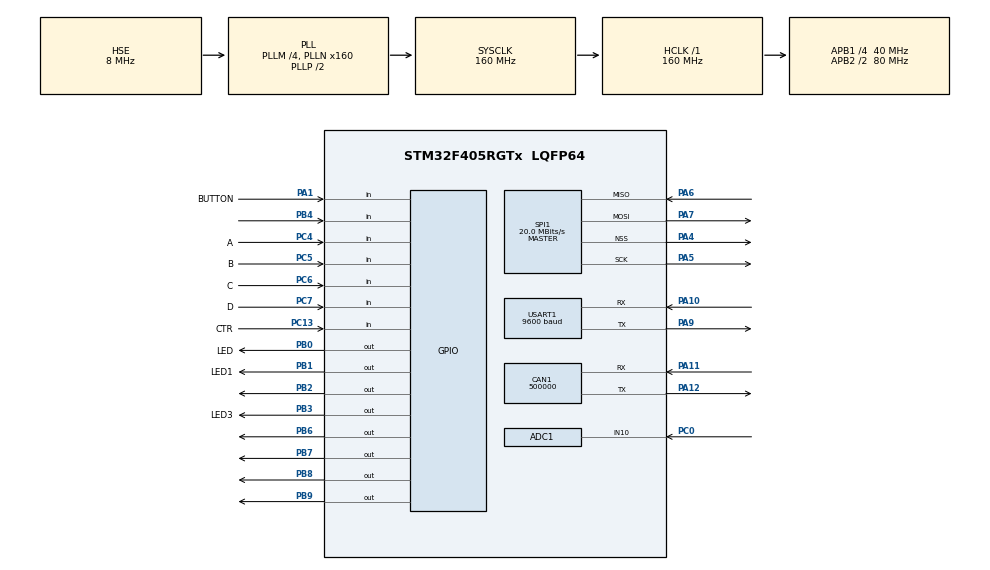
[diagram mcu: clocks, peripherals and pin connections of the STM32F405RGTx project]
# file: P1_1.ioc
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ADC1.Channel-0\#ChannelRegularConversion=ADC_CHANNEL_10
ADC1.NbrOfConversionFlag=1
ADC1.Rank-0\#ChannelRegularConversion=1
ADC1.SamplingTime-0\#ChannelRegularConversion=ADC_SAMPLETIME_3CYCLES
ADC1.master=1
CAN1.BS1=CAN_BS1_2TQ
CAN1.BS2=CAN_BS2_2TQ
CAN1.CalculateBaudRate=500000
CAN1.CalculateTimeBit=2000
CAN1.CalculateTimeQuantum=400.0
Mcu.Family=STM32F4
Mcu.Name=STM32F405RGTx
Mcu.Package=LQFP64
NVIC.CAN1_RX0_IRQn=true\:0\:0\:false\:false\:true\:true\:true\:true
NVIC.PriorityGroup=NVIC_PRIORITYGROUP_4
NVIC.SPI1_IRQn=true\:0\:0\:false\:false\:true\:true\:true\:true
NVIC.TIM2_IRQn=true\:0\:0\:false\:false\:true\:true\:true\:true
NVIC.USART1_IRQn=true\:0\:0\:false\:false\:true\:true\:true\:true
PA1.GPIO_Label=BUTTON
PA1.Signal=GPIO_Input
PA10.Mode=Asynchronous
PA10.Signal=USART1_RX
PA11.GPIO_PuPd=GPIO_PULLUP
PA11.Mode=CAN_Activate
PA11.Signal=CAN1_RX
PA12.GPIO_PuPd=GPIO_PULLUP
PA12.Mode=CAN_Activate
PA12.Signal=CAN1_TX
PA4.Mode=NSS_Signal_Hard_Output
PA4.Signal=SPI1_NSS
PA5.GPIO_PuPd=GPIO_PULLUP
PA5.Mode=Full_Duplex_Master
PA5.Signal=SPI1_SCK
PA6.GPIO_PuPd=GPIO_PULLUP
PA6.Mode=Full_Duplex_Master
PA6.Signal=SPI1_MISO
PA7.GPIO_PuPd=GPIO_PULLUP
PA7.Mode=Full_Duplex_Master
PA7.Signal=SPI1_MOSI
PA9.Mode=Asynchronous
PA9.Signal=USART1_TX
PB0.GPIO_Label=LED
PB0.Signal=GPIO_Output
PB1.GPIO_Label=LED1
PB1.Signal=GPIO_Output
PB2.Signal=GPIO_Output
PB3.GPIO_Label=LED3
PB3.Signal=GPIO_Output
PB4.GPIO_PuPd=GPIO_PULLUP
PB4.Signal=GPIO_Input
PB6.Signal=GPIO_Output
PB7.Signal=GPIO_Output
PB8.Signal=GPIO_Output
PB9.Signal=GPIO_Output
PC0.Signal=ADCx_IN10
PC13-ANTI_TAMP.GPIO_Label=CTR
PC13-ANTI_TAMP.Signal=GPIO_Input
PC4.GPIO_Label=A
PC4.Signal=GPIO_Input
PC5.GPIO_Label=B
PC5.Signal=GPIO_Input
PC6.GPIO_Label=C
PC6.Signal=GPIO_Input
PC7.GPIO_Label=D
PC7.Signal=GPIO_Input
PH0-OSC_IN.Mode=HSE-External-Oscillator
PH0-OSC_IN.Signal=RCC_OSC_IN
PH1-OSC_OUT.Mode=HSE-External-Oscillator
PH1-OSC_OUT.Signal=RCC_OSC_OUT
ProjectManager.HeapSize=0x200
ProjectManager.StackSize=0x400
ProjectManager.TargetToolchain=STM32CubeIDE
RCC.48MHZClocksFreq_Value=80000000
RCC.AHBFreq_Value=160000000
RCC.APB1CLKDivider=RCC_HCLK_DIV4
RCC.APB1Freq_Value=40000000
RCC.APB1TimFreq_Value=80000000
RCC.APB2CLKDivider=RCC_HCLK_DIV2
RCC.APB2Freq_Value=80000000
RCC.APB2TimFreq_Value=160000000
RCC.CortexFreq_Value=160000000
RCC.HCLKFreq_Value=160000000
RCC.HSE_VALUE=8000000
RCC.HSI_VALUE=16000000
RCC.LSE_VALUE=32768
RCC.PLLM=4
RCC.PLLN=160
RCC.PLLSourceVirtual=RCC_PLLSOURCE_HSE
RCC.SYSCLKFreq_VALUE=160000000
RCC.SYSCLKSource=RCC_SYSCLKSOURCE_PLLCLK
RCC.VCOOutputFreq_Value=320000000
SH.ADCx_IN10.0=ADC1_IN10,IN10
SPI1.BaudRatePrescaler=SPI_BAUDRATEPRESCALER_4
SPI1.CLKPolarity=SPI_POLARITY_HIGH
SPI1.CalculateBaudRate=20.0 MBits/s
SPI1.Direction=SPI_DIRECTION_2LINES
SPI1.Mode=SPI_MODE_MASTER
SPI1.VirtualNSS=VM_NSSHARD
SPI1.VirtualType=VM_MASTER
TIM2.Period=9999
TIM2.Prescaler=99
USART1.BaudRate=9600
USART1.VirtualMode=VM_ASYNC
VP_TIM2_VS_ClockSourceINT.Mode=Internal
board=custom

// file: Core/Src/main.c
/* USER CODE BEGIN Header */
/**
  ******************************************************************************
  * @file           : main.c
  * @brief          : Main program body
  ******************************************************************************
  * @attention
  *
  * Copyright (c) 2023 STMicroelectronics.
  * All rights reserved.
  *
  * This software is licensed under terms that can be found in the LICENSE file
  * in the root directory of this software component.
  * If no LICENSE file comes with this software, it is provided AS-IS.
  *
  ******************************************************************************
  */
/* USER CODE END Header */
#include "main.h"

/* USER CODE BEGIN Includes */
#include "global.h"
#include "software_timer.h"
#include "input_processing.h"
#include "input_reading.h"
#include "stdio.h"
#include "LCD_driver.h"
#include "st7789.h"
/* USER CODE END Includes */

ADC_HandleTypeDef hadc1;

CAN_HandleTypeDef hcan1;

TIM_HandleTypeDef htim2;

UART_HandleTypeDef huart1;

void SystemClock_Config(void);
static void MX_GPIO_Init(void);
static void MX_CAN1_Init(void);
static void MX_TIM2_Init(void);
static void MX_USART1_UART_Init(void);
static void MX_SPI1_Init(void);
static void MX_ADC1_Init(void);

/* USER CODE BEGIN 0 */
CAN_TxHeaderTypeDef TxHeader1;
CAN_RxHeaderTypeDef RxHeader1;

uint8_t TxData1[8];
uint8_t RxData1[8];

uint32_t TxMailbox;

int datacheck1 = 0;

int service_2E_state = 0;
int service_27_state = 0;
int cur_button = 0;
char lcd_str[10];

void HAL_CAN_RxFifo0MsgPendingCallback(CAN_HandleTypeDef *hcan)
{
	HAL_CAN_GetRxMessage(hcan, CAN_RX_FIFO0, &RxHeader1 ,RxData1);
	datacheck1 = 1;
	HAL_GPIO_TogglePin(LED1_GPIO_Port, LED1_Pin);
}

void do_service_22() {
	  if (datacheck1) {
		  HAL_GPIO_WritePin(LED_GPIO_Port, LED_Pin, 0);
		  datacheck1 = 0;
		  uint16_t result = (RxData1[3] << 8) | (RxData1[4] << 0);
		  HAL_UART_Transmit(&huart1, (void *)str , sprintf(str, "%d\r\n", result), 1000);

	      sprintf(lcd_str, "ADC received: %d", result);

	      ST7789_Fill_Color(WHITE);
	      ST7789_WriteString(10, 20, lcd_str, Font_11x18, RED, WHITE);
	  } else {
		  TxHeader1.DLC   = 3;
		  TxHeader1.IDE   = CAN_ID_STD;
		  TxHeader1.RTR   = CAN_RTR_DATA;
		  TxHeader1.StdId = 0x012;

		  TxData1[0] = 0x22;
		  TxData1[1] = 0xF0;
		  TxData1[2] = 0x01;
		  if (HAL_CAN_AddTxMessage(&hcan1, &TxHeader1, TxData1, &TxMailbox) == HAL_OK){
			  HAL_GPIO_WritePin(LED_GPIO_Port, LED_Pin, 1);
		  }
	  }
}

void do_service_2E() {
  switch (service_2E_state) {
    case 0:
      for (cur_button=0; cur_button<5; cur_button++) {
        if (check_button_flag(cur_button)) {
          service_2E_state = 1;
        }
      }
      break;
    case 1:
      if (datacheck1) {
        HAL_GPIO_WritePin(LED_GPIO_Port, LED_Pin, 0);
        datacheck1 = 0;
        if (((RxData1[0] >> 4) & 0X0F) == 0x03 && RxData1[1] == (0x2E + 0x40)) {
        	HAL_UART_Transmit(&huart1, "service 2E: Received FC\r\n" , 30, 1000);
        	service_2E_state = 2;
        }
      } else {
        TxHeader1.DLC   = 8;
        TxHeader1.IDE   = CAN_ID_STD;
        TxHeader1.RTR   = CAN_RTR_DATA;
        TxHeader1.StdId = 0x012;

        //PCI
        TxData1[0] = 0x10;
        TxData1[1] = 0x06;
        //SID
        TxData1[2] = 0x2E;
        //DID
        TxData1[3] = 0xF0;
        TxData1[4] = 0x02;
        //Data
        TxData1[5] = (uint8_t) cur_button;
        TxData1[6] = (uint8_t) cur_button;
        TxData1[7] = (uint8_t) cur_button;

        HAL_UART_Transmit(&huart1, "Service 2E: Sending FF\r\n" , 30, 1000);
        if (HAL_CAN_AddTxMessage(&hcan1, &TxHeader1, TxData1, &TxMailbox) == HAL_OK){
          HAL_GPIO_WritePin(LED_GPIO_Port, LED_Pin, 1);
        }
      }
      break;
    case 2:
    	TxHeader1.DLC   = 4;
    	TxHeader1.IDE   = CAN_ID_STD;
    	TxHeader1.RTR   = CAN_RTR_DATA;
    	TxHeader1.StdId = 0x012;

    	//PCI
    	TxData1[0] = ((0x02 << 4) & 0xFF) | 0x01;
    	//DATA
    	TxData1[1] = (uint8_t) cur_button;
    	TxData1[2] = (uint8_t) cur_button;
    	TxData1[3] = (uint8_t) cur_button;

    	HAL_UART_Transmit(&huart1, "Service 2E: Sending CF\r\n" , 30, 1000);
    	if (HAL_CAN_AddTxMessage(&hcan1, &TxHeader1, TxData1, &TxMailbox) == HAL_OK){
    		HAL_GPIO_WritePin(LED_GPIO_Port, LED_Pin, 1);
    		service_2E_state = 3;
    	}
    	HAL_Delay(50);
    	break;
    case 3:
    	if (datacheck1) {
            if (((RxData1[0] >> 4) & 0X0F) == 0x03 && RxData1[1] == (0x2E + 0x40)) {
            	HAL_UART_Transmit(&huart1, "Service 2E: Done\r\n" , 30, 1000);
            	service_2E_state = 0;
            }
            HAL_GPIO_WritePin(LED_GPIO_Port, LED_Pin, 0);
            HAL_GPIO_WritePin(LED1_GPIO_Port, LED1_Pin, 0);
    	}
  }
}

void do_service_27() {
	switch (service_27_state) {
		case 0:
			if (datacheck1) {
		        if (RxData1[0] == (0x27 + 0x40) && RxData1[1] == 0x01) {
		        	HAL_UART_Transmit(&huart1, "Service 27: Received seed\r\n" , 30, 1000);
		        	service_27_state = 1;
		        }
		        datacheck1 = 0;
			} else if (check_button_flag(5)) {
		        TxHeader1.DLC   = 2;
		        TxHeader1.IDE   = CAN_ID_STD;
		        TxHeader1.RTR   = CAN_RTR_DATA;
		        TxHeader1.StdId = 0x012;

		        TxData1[0] = 0x27;
		        TxData1[1] = 0x01;

		        HAL_UART_Transmit(&huart1, "Service 27: Request seed\r\n" , 30, 1000);
		        if (HAL_CAN_AddTxMessage(&hcan1, &TxHeader1, TxData1, &TxMailbox) == HAL_OK){
		          HAL_GPIO_WritePin(LED_GPIO_Port, LED_Pin, 1);
		        }
			}

			break;
		case 1:
	        TxHeader1.DLC   = 2;
	        TxHeader1.IDE   = CAN_ID_STD;
	        TxHeader1.RTR   = CAN_RTR_DATA;
	        TxHeader1.StdId = 0x012;

			TxData1[0] = 0x27;
			TxData1[1] = 0x02;
			TxData1[2] = RxData1[2] + 1;
			TxData1[3] = RxData1[3] + 1;
			TxData1[4] = RxData1[4] + 1;
			TxData1[5] = RxData1[5] + 1;

	        if (HAL_CAN_AddTxMessage(&hcan1, &TxHeader1, TxData1, &TxMailbox) == HAL_OK){
	        	HAL_UART_Transmit(&huart1, "Service 27: Sending key\r\n" , 30, 1000);
	        	service_27_state = 2;
	        }

			break;
		case 2:
			if (datacheck1) {
				if (RxData1[0] == (0x27 + 0x40) && RxData1[1] == 0x02) {
					HAL_UART_Transmit(&huart1, "Service 27: Done\r\n" , 30, 1000);
					service_27_state = 0;
				}
			}
			break;
		default:
			break;
	}
}
/* USER CODE END 0 */

int main(void)
{

  /* MCU Configuration--------------------------------------------------------*/

  /* Reset of all peripherals, Initializes the Flash interface and the Systick. */
  HAL_Init();

  /* Configure the system clock */
  SystemClock_Config();

  /* Initialize all configured peripherals */
  MX_GPIO_Init();
  MX_CAN1_Init();
  MX_TIM2_Init();
  MX_USART1_UART_Init();
  MX_SPI1_Init();
  MX_ADC1_Init();
  /* USER CODE BEGIN 2 */
  HAL_TIM_Base_Start_IT(&htim2);
  HAL_CAN_Start(&hcan1);
  HAL_CAN_ActivateNotification(&hcan1, CAN_IT_RX_FIFO0_MSG_PENDING);

  lcd_init();
  ST7789_Init();
  ST7789_Fill_Color(WHITE);

  uint8_t service = 0x27;
  /* USER CODE END 2 */

  /* Infinite loop */
  /* USER CODE BEGIN WHILE */
  setTimer0(100);
  while (1)
  {
	  switch (service) {
		case 0x22:
			do_service_22();
			break;
		case 0x2E:
			do_service_2E();
			break;
		case 0x27:
			HAL_UART_Transmit(&huart1, "Service 27: Start\r\n" , 30, 1000);
			do_service_27();
			break;
		default:
			break;
	  }
	  HAL_Delay(20);
    /* USER CODE END WHILE */

  }
}

void SystemClock_Config(void)
{
  RCC_OscInitTypeDef RCC_OscInitStruct = {0};
  RCC_ClkInitTypeDef RCC_ClkInitStruct = {0};

  /** Configure the main internal regulator output voltage
  */
  __HAL_RCC_PWR_CLK_ENABLE();
  __HAL_PWR_VOLTAGESCALING_CONFIG(PWR_REGULATOR_VOLTAGE_SCALE1);

  /** Initializes the RCC Oscillators according to the specified parameters
  * in the RCC_OscInitTypeDef structure.
  */
  RCC_OscInitStruct.OscillatorType = RCC_OSCILLATORTYPE_HSE;
  RCC_OscInitStruct.HSEState = RCC_HSE_ON;
  RCC_OscInitStruct.PLL.PLLState = RCC_PLL_ON;
  RCC_OscInitStruct.PLL.PLLSource = RCC_PLLSOURCE_HSE;
  RCC_OscInitStruct.PLL.PLLM = 4;
  RCC_OscInitStruct.PLL.PLLN = 160;
  RCC_OscInitStruct.PLL.PLLP = RCC_PLLP_DIV2;
  RCC_OscInitStruct.PLL.PLLQ = 4;
  if (HAL_RCC_OscConfig(&RCC_OscInitStruct) != HAL_OK)
  {
    Error_Handler();
  }

  /** Initializes the CPU, AHB and APB buses clocks
  */
  RCC_ClkInitStruct.ClockType = RCC_CLOCKTYPE_HCLK|RCC_CLOCKTYPE_SYSCLK
                              |RCC_CLOCKTYPE_PCLK1|RCC_CLOCKTYPE_PCLK2;
  RCC_ClkInitStruct.SYSCLKSource = RCC_SYSCLKSOURCE_PLLCLK;
  RCC_ClkInitStruct.AHBCLKDivider = RCC_SYSCLK_DIV1;
  RCC_ClkInitStruct.APB1CLKDivider = RCC_HCLK_DIV4;
  RCC_ClkInitStruct.APB2CLKDivider = RCC_HCLK_DIV2;

  if (HAL_RCC_ClockConfig(&RCC_ClkInitStruct, FLASH_LATENCY_5) != HAL_OK)
  {
    Error_Handler();
  }
}

static void MX_ADC1_Init(void)
{

  ADC_ChannelConfTypeDef sConfig = {0};

  /** Configure the global features of the ADC (Clock, Resolution, Data Alignment and number of conversion)
  */
  hadc1.Instance = ADC1;
  hadc1.Init.ClockPrescaler = ADC_CLOCK_SYNC_PCLK_DIV4;
  hadc1.Init.Resolution = ADC_RESOLUTION_12B;
  hadc1.Init.ScanConvMode = DISABLE;
  hadc1.Init.ContinuousConvMode = DISABLE;
  hadc1.Init.DiscontinuousConvMode = DISABLE;
  hadc1.Init.ExternalTrigConvEdge = ADC_EXTERNALTRIGCONVEDGE_NONE;
  hadc1.Init.ExternalTrigConv = ADC_SOFTWARE_START;
  hadc1.Init.DataAlign = ADC_DATAALIGN_RIGHT;
  hadc1.Init.NbrOfConversion = 1;
  hadc1.Init.DMAContinuousRequests = DISABLE;
  hadc1.Init.EOCSelection = ADC_EOC_SINGLE_CONV;
  if (HAL_ADC_Init(&hadc1) != HAL_OK)
  {
    Error_Handler();
  }

  /** Configure for the selected ADC regular channel its corresponding rank in the sequencer and its sample time.
  */
  sConfig.Channel = ADC_CHANNEL_10;
  sConfig.Rank = 1;
  sConfig.SamplingTime = ADC_SAMPLETIME_3CYCLES;
  if (HAL_ADC_ConfigChannel(&hadc1, &sConfig) != HAL_OK)
  {
    Error_Handler();
  }

}

static void MX_CAN1_Init(void)
{

  hcan1.Instance = CAN1;
  hcan1.Init.Prescaler = 16;
  hcan1.Init.Mode = CAN_MODE_NORMAL;
  hcan1.Init.SyncJumpWidth = CAN_SJW_1TQ;
  hcan1.Init.TimeSeg1 = CAN_BS1_2TQ;
  hcan1.Init.TimeSeg2 = CAN_BS2_2TQ;
  hcan1.Init.TimeTriggeredMode = DISABLE;
  hcan1.Init.AutoBusOff = DISABLE;
  hcan1.Init.AutoWakeUp = DISABLE;
  hcan1.Init.AutoRetransmission = DISABLE;
  hcan1.Init.ReceiveFifoLocked = DISABLE;
  hcan1.Init.TransmitFifoPriority = DISABLE;
  if (HAL_CAN_Init(&hcan1) != HAL_OK)
  {
    Error_Handler();
  }
  /* USER CODE BEGIN CAN1_Init 2 */
  CAN_FilterTypeDef canfilterconfig;

    canfilterconfig.FilterActivation = CAN_FILTER_ENABLE;
    canfilterconfig.FilterBank = 1;  // which filter bank to use from the assigned ones
    canfilterconfig.FilterFIFOAssignment = CAN_FILTER_FIFO0;
    canfilterconfig.FilterIdHigh = 0;
    canfilterconfig.FilterIdLow = 0;
    canfilterconfig.FilterMaskIdHigh = 0;
    canfilterconfig.FilterMaskIdLow = 0;
    canfilterconfig.FilterMode = CAN_FILTERMODE_IDMASK;
    canfilterconfig.FilterScale = CAN_FILTERSCALE_32BIT;
    canfilterconfig.SlaveStartFilterBank = 20;  // how many filters to assign to the CAN1 (master can)

    HAL_CAN_ConfigFilter(&hcan1, &canfilterconfig);
  /* USER CODE END CAN1_Init 2 */

}

static void MX_SPI1_Init(void)
{

  /* SPI1 parameter configuration*/
  hspi1.Instance = SPI1;
  hspi1.Init.Mode = SPI_MODE_MASTER;
  hspi1.Init.Direction = SPI_DIRECTION_2LINES;
  hspi1.Init.DataSize = SPI_DATASIZE_8BIT;
  hspi1.Init.CLKPolarity = SPI_POLARITY_HIGH;
  hspi1.Init.CLKPhase = SPI_PHASE_1EDGE;
  hspi1.Init.NSS = SPI_NSS_HARD_OUTPUT;
  hspi1.Init.BaudRatePrescaler = SPI_BAUDRATEPRESCALER_4;
  hspi1.Init.FirstBit = SPI_FIRSTBIT_MSB;
  hspi1.Init.TIMode = SPI_TIMODE_DISABLE;
  hspi1.Init.CRCCalculation = SPI_CRCCALCULATION_DISABLE;
  hspi1.Init.CRCPolynomial = 10;
  if (HAL_SPI_Init(&hspi1) != HAL_OK)
  {
    Error_Handler();
  }

}

static void MX_TIM2_Init(void)
{

  TIM_ClockConfigTypeDef sClockSourceConfig = {0};
  TIM_MasterConfigTypeDef sMasterConfig = {0};

  htim2.Instance = TIM2;
  htim2.Init.Prescaler = 99;
  htim2.Init.CounterMode = TIM_COUNTERMODE_UP;
  htim2.Init.Period = 9999;
  htim2.Init.ClockDivision = TIM_CLOCKDIVISION_DIV1;
  htim2.Init.AutoReloadPreload = TIM_AUTORELOAD_PRELOAD_DISABLE;
  if (HAL_TIM_Base_Init(&htim2) != HAL_OK)
  {
    Error_Handler();
  }
  sClockSourceConfig.ClockSource = TIM_CLOCKSOURCE_INTERNAL;
  if (HAL_TIM_ConfigClockSource(&htim2, &sClockSourceConfig) != HAL_OK)
  {
    Error_Handler();
  }
  sMasterConfig.MasterOutputTrigger = TIM_TRGO_RESET;
  sMasterConfig.MasterSlaveMode = TIM_MASTERSLAVEMODE_DISABLE;
  if (HAL_TIMEx_MasterConfigSynchronization(&htim2, &sMasterConfig) != HAL_OK)
  {
    Error_Handler();
  }
  /* USER CODE BEGIN TIM2_Init 2 */
  CYCLE = 1/((160e6/(htim2.Init.Prescaler + 1))/htim2.Init.Period)*1000;
  /* USER CODE END TIM2_Init 2 */

}

static void MX_USART1_UART_Init(void)
{

  huart1.Instance = USART1;
  huart1.Init.BaudRate = 9600;
  huart1.Init.WordLength = UART_WORDLENGTH_8B;
  huart1.Init.StopBits = UART_STOPBITS_1;
  huart1.Init.Parity = UART_PARITY_NONE;
  huart1.Init.Mode = UART_MODE_TX_RX;
  huart1.Init.HwFlowCtl = UART_HWCONTROL_NONE;
  huart1.Init.OverSampling = UART_OVERSAMPLING_16;
  if (HAL_UART_Init(&huart1) != HAL_OK)
  {
    Error_Handler();
  }

}

static void MX_GPIO_Init(void)
{
  GPIO_InitTypeDef GPIO_InitStruct = {0};

  /* GPIO Ports Clock Enable */
  __HAL_RCC_GPIOC_CLK_ENABLE();
  __HAL_RCC_GPIOH_CLK_ENABLE();
  __HAL_RCC_GPIOA_CLK_ENABLE();
  __HAL_RCC_GPIOB_CLK_ENABLE();

  /*Configure GPIO pin Output Level */
  HAL_GPIO_WritePin(GPIOB, LED_Pin|LED1_Pin|GPIO_PIN_2|LED3_Pin
                          |GPIO_PIN_6|GPIO_PIN_7|GPIO_PIN_8|GPIO_PIN_9, GPIO_PIN_RESET);

  /*Configure GPIO pins : CTR_Pin A_Pin B_Pin C_Pin
                           D_Pin */
  GPIO_InitStruct.Pin = CTR_Pin|A_Pin|B_Pin|C_Pin
                          |D_Pin;
  GPIO_InitStruct.Mode = GPIO_MODE_INPUT;
  GPIO_InitStruct.Pull = GPIO_NOPULL;
  HAL_GPIO_Init(GPIOC, &GPIO_InitStruct);

  /*Configure GPIO pin : BUTTON_Pin */
  GPIO_InitStruct.Pin = BUTTON_Pin;
  GPIO_InitStruct.Mode = GPIO_MODE_INPUT;
  GPIO_InitStruct.Pull = GPIO_NOPULL;
  HAL_GPIO_Init(BUTTON_GPIO_Port, &GPIO_InitStruct);

  /*Configure GPIO pins : LED_Pin LED1_Pin PB2 LED3_Pin
                           PB6 PB7 PB8 PB9 */
  GPIO_InitStruct.Pin = LED_Pin|LED1_Pin|GPIO_PIN_2|LED3_Pin
                          |GPIO_PIN_6|GPIO_PIN_7|GPIO_PIN_8|GPIO_PIN_9;
  GPIO_InitStruct.Mode = GPIO_MODE_OUTPUT_PP;
  GPIO_InitStruct.Pull = GPIO_NOPULL;
  GPIO_InitStruct.Speed = GPIO_SPEED_FREQ_LOW;
  HAL_GPIO_Init(GPIOB, &GPIO_InitStruct);

  /*Configure GPIO pin : PB4 */
  GPIO_InitStruct.Pin = GPIO_PIN_4;
  GPIO_InitStruct.Mode = GPIO_MODE_INPUT;
  GPIO_InitStruct.Pull = GPIO_PULLUP;
  HAL_GPIO_Init(GPIOB, &GPIO_InitStruct);

}

/* USER CODE BEGIN 4 */
void HAL_TIM_PeriodElapsedCallback(TIM_HandleTypeDef *htim) {
	if(htim->Instance == htim2.Instance)
	{
		runTimer();
		button_reading();
	}
}
/* USER CODE END 4 */

void Error_Handler(void)
{
  __disable_irq();
  while (1)
  {
  }
}
